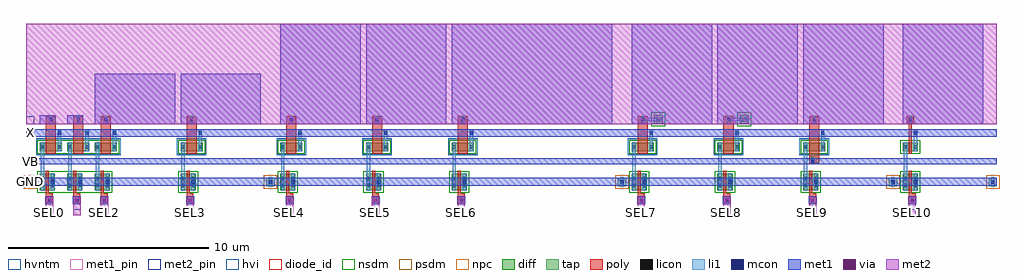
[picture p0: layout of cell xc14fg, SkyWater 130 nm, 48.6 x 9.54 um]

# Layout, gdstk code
import gdstk
lib = gdstk.Library(unit=1e-6, precision=1e-09)
def R(c, l, rs):  # rectangles x0, y0, x1, y1
    for r in rs: c.add(gdstk.rectangle(r[:2], r[2:], *l))
def A(c, l, x, y, w, h, nx, ny, dx, dy):  # array of equal rectangles
    R(c, l, [(x+i*dx, y+j*dy, x+i*dx+w, y+j*dy+h) for i in range(nx) for j in range(ny)])
diff = (65, 20)
tap = (65, 44)
poly = (66, 20)
licon = (66, 44)
li1 = (67, 20)
mcon = (67, 44)
met1_pin = (68, 16)
met1 = (68, 20)
via = (68, 44)
met2_pin = (69, 16)
met2 = (69, 20)
hvi = (75, 20)
diode_id = (81, 23)
nsdm = (93, 44)
psdm = (94, 20)
npc = (95, 20)
hvntm = (125, 20)

xc14fg = lib.new_cell('xc14fg')
A(xc14fg, diff, 0.69, -1.96, 0.75, 0.84, 3, 1, 1.37, 0)
A(xc14fg, diff, 12.66, -1.96, 0.75, 0.84, 3, 1, 4.27, 0)
A(xc14fg, diff, 30.16, -1.96, 0.75, 0.84, 3, 1, 4.27, 0)
A(xc14fg, diff, 0.69, 0, 1.1, 0.42, 3, 1, 1.37, 0)
A(xc14fg, diff, 12.66, 0, 1.1, 0.42, 3, 1, 4.27, 0)
A(xc14fg, diff, 30.16, 0, 1.1, 0.42, 3, 1, 4.27, 0)
R(xc14fg, diff, [(7.7,-1.96,8.45,-1.12), (43.66,-1.96,44.41,-1.12), (7.7,0,8.8,0.42), (43.66,0,44.41,0.42), (31.26,1.35,31.71,1.8), (35.53,1.35,35.98,1.8)])
R(xc14fg, tap, [(0,-1.75,0.42,-1.33), (11.97,-1.75,12.39,-1.33), (29.47,-1.75,29.89,-1.33), (42.97,-1.75,43.39,-1.33), (47.93,-1.75,48.35,-1.33)])
A(xc14fg, poly, 0.99, -2.62, 0.34, 0.53, 3, 1, 1.37, 0)
A(xc14fg, poly, 12.96, -2.62, 0.34, 0.53, 3, 1, 4.27, 0)
A(xc14fg, poly, 30.46, -2.62, 0.34, 0.53, 3, 1, 4.27, 0)
A(xc14fg, poly, 0.99, -2.09, 0.15, 1.1, 3, 1, 1.37, 0)
A(xc14fg, poly, 12.96, -2.09, 0.15, 1.1, 3, 1, 4.27, 0)
A(xc14fg, poly, 30.46, -2.09, 0.15, 1.1, 3, 1, 4.27, 0)
A(xc14fg, poly, 0.99, -0.13, 0.5, 1.87, 3, 1, 1.37, 0)
A(xc14fg, poly, 12.96, -0.13, 0.5, 1.87, 3, 1, 4.27, 0)
R(xc14fg, poly, [(8,-2.62,8.34,-2.09), (43.96,-2.62,44.3,-2.09), (8,-2.09,8.15,-0.99), (43.96,-2.09,44.11,-0.99), (39,-0.62,39.5,1.74), (8,-0.13,8.5,1.74), (30.46,-0.13,30.96,1.74), (34.73,-0.13,35.23,1.74), (43.96,-0.13,44.11,1.41), (43.865,1.41,44.205,1.74)])
A(xc14fg, licon, 1.08, -2.54, 0.17, 0.17, 3, 1, 1.37, 0)
A(xc14fg, licon, 13.05, -2.54, 0.17, 0.17, 3, 1, 4.27, 0)
A(xc14fg, licon, 30.55, -2.54, 0.17, 0.17, 3, 1, 4.27, 0)
A(xc14fg, licon, 1.155, 1.49, 0.17, 0.17, 3, 1, 1.37, 0)
A(xc14fg, licon, 13.125, 1.49, 0.17, 0.17, 3, 1, 4.27, 0)
R(xc14fg, licon, [(8.09,-2.54,8.26,-2.37), (44.05,-2.54,44.22,-2.37), (0.73,-1.795,0.9,-1.625), (1.23,-1.795,1.4,-1.625), (2.1,-1.795,2.27,-1.625), (2.6,-1.795,2.77,-1.625), (3.47,-1.795,3.64,-1.625), (3.97,-1.795,4.14,-1.625), (7.74,-1.795,7.91,-1.625), (8.24,-1.795,8.41,-1.625), (12.7,-1.795,12.87,-1.625), (13.2,-1.795,13.37,-1.625), (16.97,-1.795,17.14,-1.625), (17.47,-1.795,17.64,-1.625), (21.24,-1.795,21.41,-1.625), (21.74,-1.795,21.91,-1.625), (30.2,-1.795,30.37,-1.625), (30.7,-1.795,30.87,-1.625), (34.47,-1.795,34.64,-1.625), (34.97,-1.795,35.14,-1.625), (38.74,-1.795,38.91,-1.625), (39.24,-1.795,39.41,-1.625), (43.7,-1.795,43.87,-1.625), (44.2,-1.795,44.37,-1.625), (0.125,-1.625,0.295,-1.455), (12.095,-1.625,12.265,-1.455), (29.595,-1.625,29.765,-1.455), (43.095,-1.625,43.265,-1.455), (48.055,-1.625,48.225,-1.455), (0.73,-1.455,0.9,-1.285), (1.23,-1.455,1.4,-1.285), (2.1,-1.455,2.27,-1.285), (2.6,-1.455,2.77,-1.285), (3.47,-1.455,3.64,-1.285), (3.97,-1.455,4.14,-1.285), (7.74,-1.455,7.91,-1.285), (8.24,-1.455,8.41,-1.285), (12.7,-1.455,12.87,-1.285), (13.2,-1.455,13.37,-1.285), (16.97,-1.455,17.14,-1.285), (17.47,-1.455,17.64,-1.285), (21.24,-1.455,21.41,-1.285), (21.74,-1.455,21.91,-1.285), (30.2,-1.455,30.37,-1.285), (30.7,-1.455,30.87,-1.285), (34.47,-1.455,34.64,-1.285), (34.97,-1.455,35.14,-1.285), (38.74,-1.455,38.91,-1.285), (39.24,-1.455,39.41,-1.285), (43.7,-1.455,43.87,-1.285), (44.2,-1.455,44.37,-1.285), (39.09,-0.54,39.26,-0.37), (0.73,0.125,0.9,0.295), (1.58,0.125,1.75,0.295), (2.1,0.125,2.27,0.295), (2.95,0.125,3.12,0.295), (3.47,0.125,3.64,0.295), (4.32,0.125,4.49,0.295), (7.74,0.125,7.91,0.295), (8.59,0.125,8.76,0.295), (12.7,0.125,12.87,0.295), (13.55,0.125,13.72,0.295), (16.97,0.125,17.14,0.295), (17.82,0.125,17.99,0.295), (21.24,0.125,21.41,0.295), (22.09,0.125,22.26,0.295), (30.2,0.125,30.37,0.295), (31.05,0.125,31.22,0.295), (34.47,0.125,34.64,0.295), (35.32,0.125,35.49,0.295), (38.74,0.125,38.91,0.295), (39.59,0.125,39.76,0.295), (43.7,0.125,43.87,0.295), (44.2,0.125,44.37,0.295), (8.165,1.49,8.335,1.66), (30.625,1.49,30.795,1.66), (31.4,1.49,31.57,1.66), (34.895,1.49,35.065,1.66), (35.67,1.49,35.84,1.66), (39.165,1.49,39.335,1.66), (43.95,1.49,44.12,1.66)])
A(xc14fg, li1, 1.08, -2.62, 0.17, 0.33, 3, 1, 1.37, 0)
A(xc14fg, li1, 13.05, -2.62, 0.17, 0.33, 3, 1, 4.27, 0)
A(xc14fg, li1, 30.55, -2.62, 0.17, 0.33, 3, 1, 4.27, 0)
A(xc14fg, li1, 0.73, -1.98, 0.17, 2.42, 3, 1, 1.37, 0)
A(xc14fg, li1, 1.23, -1.98, 0.17, 0.88, 3, 1, 1.37, 0)
A(xc14fg, li1, 12.7, -1.98, 0.17, 2.42, 3, 1, 4.27, 0)
A(xc14fg, li1, 13.2, -1.98, 0.17, 0.88, 3, 1, 4.27, 0)
A(xc14fg, li1, 30.2, -1.98, 0.17, 2.42, 3, 1, 4.27, 0)
A(xc14fg, li1, 30.7, -1.98, 0.17, 0.88, 3, 1, 4.27, 0)
A(xc14fg, li1, 1.58, -0.02, 0.17, 1.07, 3, 1, 1.37, 0)
A(xc14fg, li1, 13.55, -0.02, 0.17, 1.07, 3, 1, 4.27, 0)
A(xc14fg, li1, 31.05, -0.02, 0.17, 1.07, 3, 1, 4.27, 0)
A(xc14fg, li1, 1.155, 1.41, 0.17, 0.33, 3, 1, 1.37, 0)
A(xc14fg, li1, 13.125, 1.41, 0.17, 0.33, 3, 1, 4.27, 0)
R(xc14fg, li1, [(8.09,-2.62,8.26,-2.29), (44.05,-2.62,44.22,-2.29), (7.74,-1.98,7.91,0.44), (8.24,-1.98,8.41,-1.1), (43.7,-1.98,43.87,0.44), (44.2,-1.98,44.37,-1.1), (0.125,-1.77,0.295,-1.31), (12.095,-1.77,12.265,-1.31), (29.595,-1.77,29.765,-1.31), (43.095,-1.77,43.265,-1.31), (48.055,-1.77,48.225,-1.31), (39.09,-0.62,39.26,-0.29), (8.59,-0.02,8.76,1.05), (44.2,-0.02,44.37,1.05), (8.165,1.41,8.335,1.74), (30.625,1.41,30.795,1.49), (34.895,1.41,35.065,1.49), (39.165,1.41,39.335,1.74), (43.95,1.41,44.12,1.74), (30.625,1.49,31.65,1.66), (34.895,1.49,35.92,1.66), (30.625,1.66,30.795,1.74), (34.895,1.66,35.065,1.74)])
A(xc14fg, mcon, 1.08, -2.54, 0.17, 0.17, 3, 1, 1.37, 0)
A(xc14fg, mcon, 13.05, -2.54, 0.17, 0.17, 3, 1, 4.27, 0)
A(xc14fg, mcon, 30.55, -2.54, 0.17, 0.17, 3, 1, 4.27, 0)
A(xc14fg, mcon, 1.23, -1.625, 0.17, 0.17, 3, 1, 1.37, 0)
A(xc14fg, mcon, 13.2, -1.625, 0.17, 0.17, 3, 1, 4.27, 0)
A(xc14fg, mcon, 30.7, -1.625, 0.17, 0.17, 3, 1, 4.27, 0)
A(xc14fg, mcon, 1.58, 0.82, 0.17, 0.17, 3, 1, 1.37, 0)
A(xc14fg, mcon, 13.55, 0.82, 0.17, 0.17, 3, 1, 4.27, 0)
A(xc14fg, mcon, 31.05, 0.82, 0.17, 0.17, 3, 1, 4.27, 0)
A(xc14fg, mcon, 1.155, 1.49, 0.17, 0.17, 3, 1, 1.37, 0)
A(xc14fg, mcon, 13.125, 1.49, 0.17, 0.17, 3, 1, 4.27, 0)
A(xc14fg, mcon, 30.625, 1.49, 0.17, 0.17, 3, 1, 4.27, 0)
R(xc14fg, mcon, [(8.09,-2.54,8.26,-2.37), (44.05,-2.54,44.22,-2.37), (0.125,-1.625,0.295,-1.455), (8.24,-1.625,8.41,-1.455), (12.095,-1.625,12.265,-1.455), (29.595,-1.625,29.765,-1.455), (43.095,-1.625,43.265,-1.455), (44.2,-1.625,44.37,-1.455), (48.055,-1.625,48.225,-1.455), (39.09,-0.6,39.26,-0.43), (8.59,0.82,8.76,0.99), (44.2,0.82,44.37,0.99), (8.165,1.49,8.335,1.66), (43.95,1.49,44.12,1.66)])
R(xc14fg, met1_pin, [(0,-1.74,0.4,-1.34), (0,-0.66,0.4,-0.37), (0,0.72,0.4,1.09)])
A(xc14fg, met1, 0.965, -2.655, 0.4, 0.4, 3, 1, 1.37, 0)
A(xc14fg, met1, 12.935, -2.655, 0.4, 0.4, 3, 1, 4.27, 0)
A(xc14fg, met1, 30.435, -2.655, 0.4, 0.4, 3, 1, 4.27, 0)
A(xc14fg, met1, 30.16, 1.34, 4, 5, 3, 1, 4.27, 0)
R(xc14fg, met1, [(7.975,-2.655,8.375,-2.255), (43.935,-2.655,44.335,-2.255), (0,-1.74,48.35,-1.34), (0,-0.66,48.35,-0.37), (0,0.72,48.35,1.09), (0.69,1.34,1.49,1.79), (2.06,1.34,2.86,1.79), (3.43,1.34,7.43,3.84), (7.7,1.34,11.7,3.84), (12.66,1.34,16.66,6.34), (16.93,1.34,20.93,6.34), (21.2,1.34,29.2,6.34), (43.66,1.34,47.66,6.34)])
A(xc14fg, via, 1.09, -2.53, 0.15, 0.15, 3, 1, 1.37, 0)
A(xc14fg, via, 13.06, -2.53, 0.15, 0.15, 3, 1, 4.27, 0)
A(xc14fg, via, 30.56, -2.53, 0.15, 0.15, 3, 1, 4.27, 0)
R(xc14fg, via, [(8.1,-2.53,8.25,-2.38), (44.06,-2.53,44.21,-2.38)])
A(xc14fg, met2_pin, 0.985, -3.2, 0.36, 0.3, 3, 1, 1.37, 0)
A(xc14fg, met2_pin, 12.955, -3.2, 0.36, 0.3, 3, 1, 4.27, 0)
A(xc14fg, met2_pin, 30.455, -3.2, 0.36, 0.3, 3, 1, 4.27, 0)
R(xc14fg, met2_pin, [(7.995,-3.2,8.355,-2.9), (43.955,-3.2,44.315,-2.9), (0,1.34,0.4,1.74)])
A(xc14fg, met2, 0.985, -3.2, 0.36, 0.925, 3, 1, 1.37, 0)
A(xc14fg, met2, 12.955, -3.2, 0.36, 0.925, 3, 1, 4.27, 0)
A(xc14fg, met2, 30.455, -3.2, 0.36, 0.925, 3, 1, 4.27, 0)
R(xc14fg, met2, [(7.995,-3.2,8.355,-2.275), (43.955,-3.2,44.315,-2.275), (0,1.34,48.35,6.34)])
A(xc14fg, hvi, 12.475, -0.21, 1.47, 0.84, 3, 1, 4.27, 0)
A(xc14fg, hvi, 29.975, -0.21, 1.47, 0.84, 3, 1, 4.27, 0)
R(xc14fg, hvi, [(0.505,-0.21,4.715,0.63), (7.515,-0.21,8.985,0.63)])
R(xc14fg, diode_id, [(31.26,1.35,31.71,1.8), (35.53,1.35,35.98,1.8)])
A(xc14fg, nsdm, 12.535, -2.085, 1, 1.09, 3, 1, 4.27, 0)
A(xc14fg, nsdm, 30.035, -2.085, 1, 1.09, 3, 1, 4.27, 0)
A(xc14fg, nsdm, 12.535, -0.125, 1.35, 0.67, 3, 1, 4.27, 0)
A(xc14fg, nsdm, 30.035, -0.125, 1.35, 0.67, 3, 1, 4.27, 0)
R(xc14fg, nsdm, [(0.565,-2.085,4.305,-0.995), (7.575,-2.085,8.575,-0.995), (43.535,-2.085,44.535,-0.995), (0.565,-0.125,4.655,0.545), (7.575,-0.125,8.925,0.545), (43.535,-0.125,44.535,0.545), (31.135,1.225,31.835,1.925), (35.405,1.225,36.105,1.925)])
R(xc14fg, psdm, [(-0.125,-1.875,0.545,-1.205), (11.845,-1.875,12.515,-1.205), (29.345,-1.875,30.015,-1.205), (42.845,-1.875,43.515,-1.205), (47.805,-1.875,48.475,-1.205)])
A(xc14fg, npc, 0.98, -2.64, 0.37, 0.37, 3, 1, 1.37, 0)
A(xc14fg, npc, 12.95, -2.64, 0.37, 0.37, 3, 1, 4.27, 0)
A(xc14fg, npc, 30.45, -2.64, 0.37, 0.37, 3, 1, 4.27, 0)
A(xc14fg, npc, 1.055, 1.39, 0.37, 0.37, 3, 1, 1.37, 0)
A(xc14fg, npc, 13.025, 1.39, 0.37, 0.37, 3, 1, 4.27, 0)
A(xc14fg, npc, 30.525, 1.39, 0.37, 0.37, 3, 1, 4.27, 0)
R(xc14fg, npc, [(7.99,-2.64,8.36,-2.27), (43.95,-2.64,44.32,-2.27), (38.99,-0.64,39.36,-0.27), (8.065,1.39,8.435,1.76), (43.85,1.39,44.22,1.76)])
A(xc14fg, hvntm, 12.475, -0.185, 1.47, 0.79, 3, 1, 4.27, 0)
A(xc14fg, hvntm, 29.975, -0.185, 1.47, 0.79, 3, 1, 4.27, 0)
R(xc14fg, hvntm, [(0.505,-0.185,4.715,0.605), (7.515,-0.185,8.985,0.605)])
xc14fg.add(gdstk.Label('SEL0', (1.165,-3.05), layer=69, texttype=5))
xc14fg.add(gdstk.Label('SEL1', (2.535,-3.05), layer=69, texttype=5))
xc14fg.add(gdstk.Label('SEL2', (3.905,-3.05), layer=69, texttype=5))
xc14fg.add(gdstk.Label('SEL3', (8.175,-3.05), layer=69, texttype=5))
xc14fg.add(gdstk.Label('SEL4', (13.135,-3.05), layer=69, texttype=5))
xc14fg.add(gdstk.Label('SEL5', (17.405,-3.05), layer=69, texttype=5))
xc14fg.add(gdstk.Label('SEL6', (21.675,-3.05), layer=69, texttype=5))
xc14fg.add(gdstk.Label('SEL7', (30.635,-3.05), layer=69, texttype=5))
xc14fg.add(gdstk.Label('SEL8', (34.905,-3.05), layer=69, texttype=5))
xc14fg.add(gdstk.Label('SEL9', (39.175,-3.05), layer=69, texttype=5))
xc14fg.add(gdstk.Label('SEL10', (44.135,-3.05), layer=69, texttype=5))
xc14fg.add(gdstk.Label('X', (0.2,0.905), layer=68, texttype=5))
xc14fg.add(gdstk.Label('VB', (0.2,-0.515), layer=68, texttype=5))
xc14fg.add(gdstk.Label('GND', (0.2,-1.54), layer=68, texttype=5))
xc14fg.add(gdstk.Label('CP', (0.2,1.54), layer=69, texttype=5))

lib.write_gds('xc14fg.gds')
